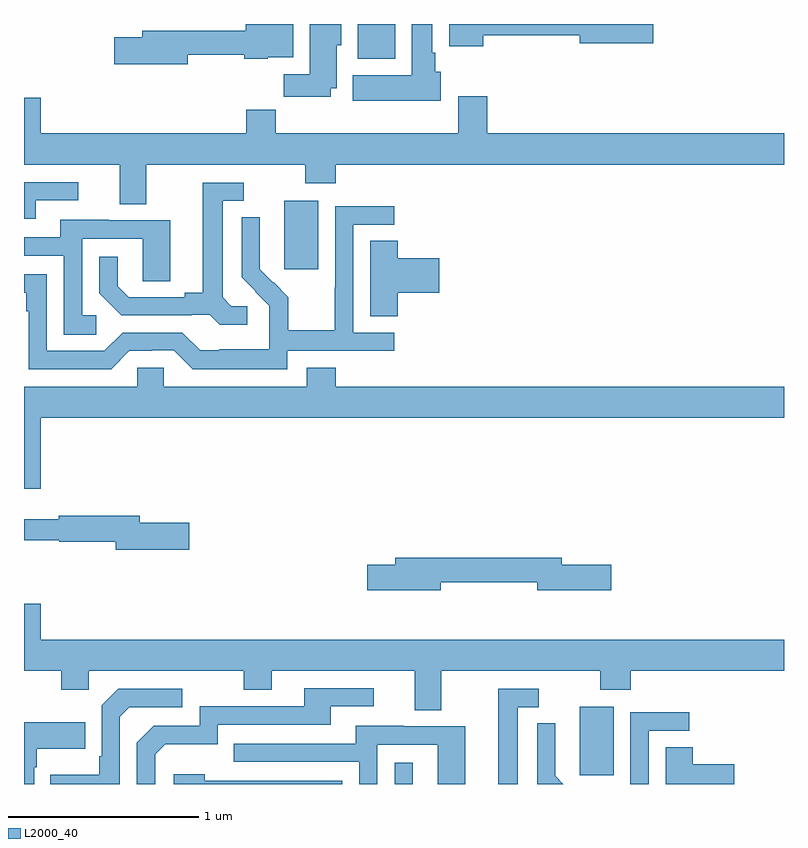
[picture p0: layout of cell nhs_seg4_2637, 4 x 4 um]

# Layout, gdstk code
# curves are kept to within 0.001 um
import gdstk
lib = gdstk.Library(unit=1e-6, precision=1e-09)
def R(c, l, rs):  # rectangles x0, y0, x1, y1
    for r in rs: c.add(gdstk.rectangle(r[:2], r[2:], *l))
def P(c, l, *ps):  # polygons
    for p in ps: c.add(gdstk.Polygon(p, *l))
L2000_40 = (2000, 40)

nhs_seg4_2637 = lib.new_cell('nhs_seg4_2637')
R(nhs_seg4_2637, L2000_40, [(250.95,786.9,251.047,787.012), (251.924,786.945,252.103,787.306), (250.37,789.609,250.549,789.97), (250.757,790.718,250.954,790.9)])
P(nhs_seg4_2637, L2000_40, [(251.194,790.65),(251.164,790.65),(251.164,790.75),(251.149,790.75),(251.149,790.9),(251.042,790.9),(251.042,790.63),(250.73,790.63),(250.73,790.496),(251.194,790.496)],
  [(250.615,790.562),(250.645,790.562),(250.645,790.788),(250.669,790.788),(250.669,790.9),(250.505,790.9),(250.505,790.636),(250.366,790.636),(250.366,790.518),(250.615,790.518)],
  [(249.862,790.737),(250.159,790.737),(250.159,790.718),(250.284,790.718),(250.284,790.724),(250.417,790.724),(250.417,790.9),(250.166,790.9),(250.166,790.865),(249.623,790.865),(249.623,790.829),(249.474,790.829),(249.474,790.687),(249.862,790.687)],
  [(251.416,790.84),(251.924,790.84),(251.924,790.798),(252.313,790.798),(252.313,790.9),(251.237,790.9),(251.237,790.784),(251.416,790.784)],
  [(249.088,790.513),(249,790.513),(249,790.16),(249.503,790.16),(249.503,789.952),(249.643,789.952),(249.643,790.16),(250.48,790.16),(250.48,790.061),(250.64,790.061),(250.64,790.16),(253,790.16),(253,790.324),(251.438,790.324),(251.438,790.519),(251.285,790.519),(251.285,790.324),(250.325,790.324),(250.325,790.448),(250.169,790.448),(250.169,790.324),(249.088,790.324)],
  [(249.061,789.972),(249.286,789.972),(249.286,790.068),(249,790.068),(249,789.876),(249.061,789.876)],
  [(250.174,789.414),(250.092,789.414),(250.045,789.461),(250.045,789.969),(250.156,789.969),(250.156,790.065),(249.941,790.065),(249.941,789.485),(249.845,789.485),(249.845,789.462),(249.55,789.462),(249.493,789.519),(249.493,789.676),(249.396,789.676),(249.396,789.482),(249.512,789.366),(249.884,789.366),(249.884,789.369),(249.978,789.369),(250.03,789.317),(250.174,789.317)],
  [(250.386,789.18),(250.948,789.18),(250.948,789.276),(250.734,789.276),(250.734,789.843),(250.948,789.843),(250.948,789.942),(250.638,789.942),(250.638,789.512),(250.636,789.512),(250.636,789.289),(250.391,789.289),(250.391,789.463),(250.314,789.54),(250.311,789.537),(250.241,789.608),(250.242,789.884),(250.146,789.884),(250.146,789.566),(250.292,789.418),(250.292,789.321),(250.29,789.321),(250.29,789.187),(250.027,789.187),(250.027,789.183),(249.927,789.183),(249.834,789.276),(249.519,789.276),(249.423,789.18),(249.12,789.18),(249.12,789.582),(249,789.582),(249,789.486),(249.011,789.486),(249.011,789.389),(249.024,789.389),(249.024,789.084),(249.459,789.084),(249.555,789.18),(249.674,789.18),(249.674,789.183),(249.789,789.183),(249.889,789.083),(250.386,789.083)],
  [(249.379,789.366),(249.306,789.366),(249.306,789.771),(249.624,789.771),(249.624,789.547),(249.769,789.547),(249.769,789.867),(249.445,789.867),(249.445,789.871),(249.191,789.871),(249.191,789.777),(249,789.777),(249,789.681),(249.21,789.681),(249.21,789.265),(249.379,789.265)],
  [(250.967,789.485),(251.185,789.485),(251.185,789.668),(250.967,789.668),(250.967,789.758),(250.823,789.758),(250.823,789.361),(250.967,789.361)],
  [(249.088,788.828),(253,788.828),(253,788.992),(250.64,788.992),(250.64,789.091),(250.487,789.091),(250.487,788.992),(249.735,788.992),(249.735,789.09),(249.597,789.09),(249.597,788.992),(249,788.992),(249,788.454),(249.088,788.454)],
  [(249.871,788.276),(249.61,788.276),(249.61,788.312),(249.184,788.312),(249.184,788.293),(249,788.293),(249,788.184),(249.186,788.184),(249.186,788.176),(249.482,788.176),(249.482,788.134),(249.871,788.134)],
  [(251.194,787.962),(251.702,787.962),(251.702,787.919),(252.091,787.919),(252.091,788.054),(251.83,788.054),(251.83,788.09),(250.955,788.09),(250.955,788.054),(250.806,788.054),(250.806,787.919),(251.194,787.919)],
  [(251.197,787.496),(252.034,787.496),(252.034,787.397),(252.194,787.397),(252.194,787.496),(253,787.496),(253,787.66),(249.088,787.66),(249.088,787.849),(249,787.849),(249,787.496),(249.196,787.496),(249.196,787.397),(249.342,787.397),(249.342,787.496),(250.156,787.496),(250.156,787.397),(250.303,787.397),(250.303,787.496),(251.057,787.496),(251.057,787.288),(251.197,787.288)],
  [(249.69,787.056),(249.743,787.109),(250.02,787.109),(250.02,787.212),(250.615,787.212),(250.615,787.308),(250.84,787.308),(250.84,787.404),(250.475,787.404),(250.475,787.308),(249.924,787.308),(249.924,787.206),(249.684,787.206),(249.594,787.116),(249.594,786.9),(249.69,786.9)],
  [(251.599,787.305),(251.71,787.305),(251.71,787.401),(251.495,787.401),(251.495,786.9),(251.599,786.9)],
  [(249.504,787.254),(249.555,787.305),(249.832,787.305),(249.832,787.401),(249.495,787.401),(249.408,787.314),(249.408,787.045),(249.396,787.045),(249.396,786.949),(249.139,786.949),(249.139,786.9),(249.504,786.9)],
  [(252.288,787.179),(252.502,787.179),(252.502,787.278),(252.192,787.278),(252.192,786.9),(252.288,786.9)],
  [(249.054,786.989),(249.067,786.989),(249.067,787.085),(249.323,787.085),(249.323,787.225),(249,787.225),(249,786.9),(249.054,786.9)],
  [(251.795,786.944),(251.795,787.066),(251.796,787.066),(251.796,787.22),(251.7,787.22),(251.7,786.902),(251.702,786.9),(251.838,786.9)],
  [(250.86,787.107),(251.178,787.107),(251.178,786.9),(251.323,786.9),(251.323,787.203),(250.999,787.203),(250.999,787.207),(250.745,787.207),(250.745,787.113),(250.105,787.113),(250.105,787.017),(250.764,787.017),(250.764,786.9),(250.86,786.9)],
  [(252.739,787.004),(252.521,787.004),(252.521,787.094),(252.377,787.094),(252.377,786.9),(252.739,786.9)],
  [(250.674,786.918),(249.95,786.918),(249.95,786.952),(249.789,786.952),(249.789,786.9),(250.674,786.9)])

lib.write_gds('nhs_seg4_2637.gds')
